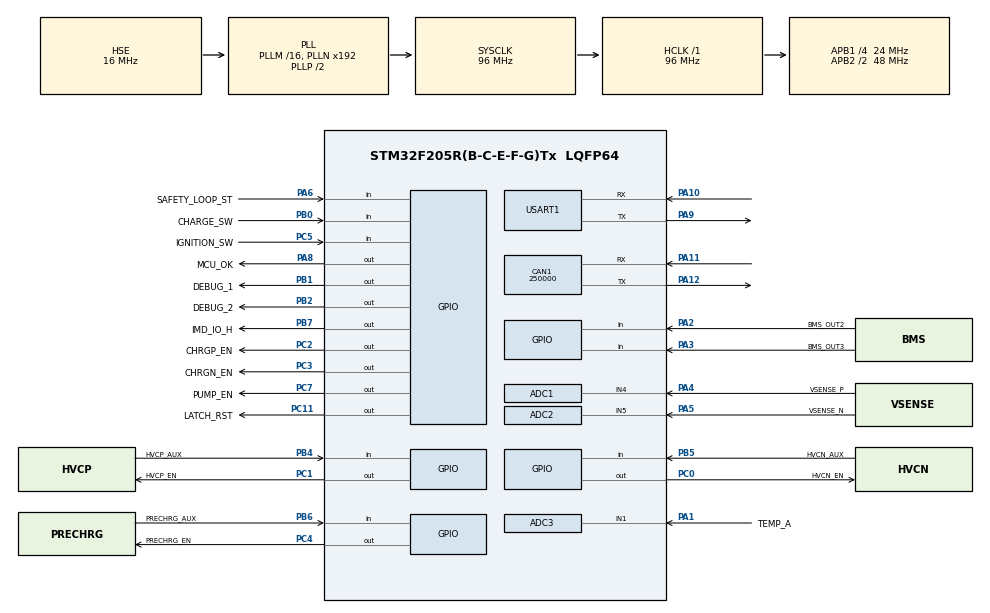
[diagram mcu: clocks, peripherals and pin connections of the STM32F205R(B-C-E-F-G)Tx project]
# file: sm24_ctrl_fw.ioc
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ADC1.Channel-1\#ChannelRegularConversion=ADC_CHANNEL_4
ADC1.NbrOfConversionFlag=1
ADC1.Rank-1\#ChannelRegularConversion=1
ADC1.SamplingTime-1\#ChannelRegularConversion=ADC_SAMPLETIME_3CYCLES
ADC1.master=1
ADC2.Channel-1\#ChannelRegularConversion=ADC_CHANNEL_5
ADC2.NbrOfConversionFlag=1
ADC2.Rank-1\#ChannelRegularConversion=1
ADC2.SamplingTime-1\#ChannelRegularConversion=ADC_SAMPLETIME_3CYCLES
ADC3.Channel-0\#ChannelRegularConversion=ADC_CHANNEL_1
ADC3.NbrOfConversionFlag=1
ADC3.Rank-0\#ChannelRegularConversion=1
ADC3.SamplingTime-0\#ChannelRegularConversion=ADC_SAMPLETIME_3CYCLES
CAN1.BS1=CAN_BS1_4TQ
CAN1.CalculateBaudRate=250000
CAN1.CalculateTimeBit=4000
CAN1.CalculateTimeQuantum=666.6666666666666
CAN1.NART=ENABLE
CAN1.SJW=CAN_SJW_2TQ
Mcu.Family=STM32F2
Mcu.Name=STM32F205R(B-C-E-F-G)Tx
Mcu.Package=LQFP64
NVIC.CAN1_RX0_IRQn=true\:0\:0\:false\:false\:true\:true\:true\:true
NVIC.PriorityGroup=NVIC_PRIORITYGROUP_4
PA1.GPIO_Label=TEMP_A
PA1.Signal=ADCx_IN1
PA10.Mode=Asynchronous
PA10.Signal=USART1_RX
PA11.GPIO_PuPd=GPIO_PULLUP
PA11.Mode=CAN_Activate
PA11.Signal=CAN1_RX
PA12.Mode=CAN_Activate
PA12.Signal=CAN1_TX
PA2.GPIO_Label=BMS_OUT2
PA2.GPIO_PuPd=GPIO_PULLDOWN
PA2.Signal=GPIO_Input
PA3.GPIO_Label=BMS_OUT3
PA3.GPIO_PuPd=GPIO_PULLDOWN
PA3.Signal=GPIO_Input
PA4.GPIO_Label=VSENSE_P
PA4.Signal=ADCx_IN4
PA5.GPIO_Label=VSENSE_N
PA5.Signal=ADCx_IN5
PA6.GPIO_Label=SAFETY_LOOP_ST
PA6.Signal=GPIO_Input
PA8.GPIO_Label=MCU_OK
PA8.Signal=GPIO_Output
PA9.Mode=Asynchronous
PA9.Signal=USART1_TX
PB0.GPIO_Label=CHARGE_SW
PB0.GPIO_PuPd=GPIO_PULLDOWN
PB0.Signal=GPIO_Input
PB1.GPIO_Label=DEBUG_1
PB1.Signal=GPIO_Output
PB2.GPIO_Label=DEBUG_2
PB2.Signal=GPIO_Output
PB4.GPIO_Label=HVCP_AUX
PB4.GPIO_PuPd=GPIO_PULLDOWN
PB4.Signal=GPIO_Input
PB5.GPIO_Label=HVCN_AUX
PB5.GPIO_PuPd=GPIO_PULLDOWN
PB5.Signal=GPIO_Input
PB6.GPIO_Label=PRECHRG_AUX
PB6.GPIO_PuPd=GPIO_PULLDOWN
PB6.Signal=GPIO_Input
PB7.GPIO_Label=IMD_IO_H
PB7.Signal=GPIO_Output
PC0.GPIO_Label=HVCN_EN
PC0.Signal=GPIO_Output
PC1.GPIO_Label=HVCP_EN
PC1.Signal=GPIO_Output
PC11.GPIO_Label=LATCH_RST
PC11.Signal=GPIO_Output
PC2.GPIO_Label=CHRGP_EN
PC2.Signal=GPIO_Output
PC3.GPIO_Label=CHRGN_EN
PC3.Signal=GPIO_Output
PC4.GPIO_Label=PRECHRG_EN
PC4.GPIO_PuPd=GPIO_NOPULL
PC4.Signal=GPIO_Output
PC5.GPIO_Label=IGNITION_SW
PC5.GPIO_PuPd=GPIO_PULLDOWN
PC5.Signal=GPIO_Input
PC7.GPIO_Label=PUMP_EN
PC7.Signal=GPIO_Output
PH0-OSC_IN.Mode=HSE-External-Oscillator
PH0-OSC_IN.Signal=RCC_OSC_IN
PH1-OSC_OUT.Mode=HSE-External-Oscillator
PH1-OSC_OUT.Signal=RCC_OSC_OUT
ProjectManager.HeapSize=0x200
ProjectManager.StackSize=0x400
ProjectManager.TargetToolchain=Makefile
RCC.48MHZClocksFreq_Value=48000000
RCC.AHBFreq_Value=96000000
RCC.APB1CLKDivider=RCC_HCLK_DIV4
RCC.APB1Freq_Value=24000000
RCC.APB1TimFreq_Value=48000000
RCC.APB2CLKDivider=RCC_HCLK_DIV2
RCC.APB2Freq_Value=48000000
RCC.APB2TimFreq_Value=96000000
RCC.CortexFreq_Value=96000000
RCC.HCLKFreq_Value=96000000
RCC.HSE_VALUE=16000000
RCC.HSI_VALUE=16000000
RCC.LSE_VALUE=32768
RCC.PLLSourceVirtual=RCC_PLLSOURCE_HSE
RCC.SYSCLKFreq_VALUE=96000000
RCC.SYSCLKSource=RCC_SYSCLKSOURCE_PLLCLK
RCC.VCOOutputFreq_Value=192000000
SH.ADCx_IN1.0=ADC3_IN1,IN1
SH.ADCx_IN4.0=ADC1_IN4,IN4
SH.ADCx_IN5.0=ADC2_IN5,IN5
USART1.VirtualMode=VM_ASYNC
board=custom

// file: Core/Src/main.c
/*
 ******************************************************************************
 * @file           : main.c
 * @brief          : Main program body
 ******************************************************************************
 * @attention
 *
 * Copyright (c) 2024 STMicroelectronics.
 * All rights reserved.
 *
 * This software is licensed under terms that can be found in the LICENSE file
 * in the root directory of this software component.
 * If no LICENSE file comes with this software, it is provided AS-IS.
 *
 ******************************************************************************
 */
/* USER CODE END Header */
#include "main.h"
#include "stm32f2xx_hal_gpio.h"

/* USER CODE BEGIN Includes */
#include <stdio.h>
/* USER CODE END Includes */

/* USER CODE BEGIN PD */
// using constants to represent state as int
#define STARTUP 0
#define OPERATION 1
#define CHARGING 2
#define ERROR 3

#define PRECHARGE 1
#define DISCHARGE 2

#define AUX_SET_DELAY 300
#define DISCHARGE_THRESHOLD 200 // 4095 * V(target voltage) / 103.6
/* USER CODE END PD */

ADC_HandleTypeDef hadc1;
ADC_HandleTypeDef hadc2;
ADC_HandleTypeDef hadc3;

CAN_HandleTypeDef hcan1;

UART_HandleTypeDef huart1;

/* USER CODE BEGIN PV */
// only until CANBUS is implemented
float battery_voltage = 52.1;
/* USER CODE END PV */

void SystemClock_Config(void);
static void MX_GPIO_Init(void);
static void MX_ADC1_Init(void);
static void MX_ADC2_Init(void);
static void MX_CAN1_Init(void);
static void MX_USART1_UART_Init(void);
static void MX_ADC3_Init(void);
/* USER CODE BEGIN PFP */
#define PUTCHAR_PROTOTYPE int __io_putchar(int ch)
/* USER CODE END PFP */

/* USER CODE BEGIN 0 */
/**
 * @brief   Error handler for error detection in operational logic. Currently
 * implemented as a while(1) loop.
 * @param   None
 * @author  Peter Woolsey
 */
void internal_error_handler(void) {
  HAL_GPIO_WritePin(LATCH_RST_GPIO_Port, LATCH_RST_Pin, GPIO_PIN_RESET);
  printf("Latch enabled...\r\n");
  HAL_GPIO_WritePin(DEBUG_1_GPIO_Port, DEBUG_1_Pin, GPIO_PIN_RESET);
  HAL_GPIO_WritePin(DEBUG_2_GPIO_Port, DEBUG_2_Pin, GPIO_PIN_RESET);
  HAL_GPIO_WritePin(MCU_OK_GPIO_Port, MCU_OK_Pin, GPIO_PIN_RESET);
  // close all relays
  HAL_GPIO_WritePin(HVCP_EN_GPIO_Port, HVCP_EN_Pin, GPIO_PIN_RESET);
  HAL_GPIO_WritePin(HVCN_EN_GPIO_Port, HVCN_EN_Pin, GPIO_PIN_RESET);
  HAL_GPIO_WritePin(PRECHRG_EN_GPIO_Port, PRECHRG_EN_Pin, GPIO_PIN_RESET);
  HAL_GPIO_WritePin(CHRGP_EN_GPIO_Port, CHRGP_EN_Pin, GPIO_PIN_RESET);
  HAL_GPIO_WritePin(CHRGN_EN_GPIO_Port, CHRGN_EN_Pin, GPIO_PIN_RESET);
  // comms over canbus of what the error was?

  printf("in error state...\r\n");
  while (1) { // freeze everything off
    HAL_Delay(500);
  }
  return;
}

/**
 * @brief   Checks the precharge voltage until voltage threshold is reached a
 * certain number of times. If max tries is reached, the error handler is
 * called. MODE is either DISCHARGE OR PRECHARGE.
 * @param   vsense_target target threshold
 * @param   num_tries number of vsense read attempts
 * @param   MODE either PRECHARGE or DISCHARGE
 * @returns 1 if target is reached. 0 if num_tries is exceeded.
 * @author  Alex Martinez
 */
int vsense(int mode, uint16_t vsense_target, int num_tries) {
  printf("in vsense...\r\n");
  int i = 0;
  uint16_t value_adc_high;
  uint16_t value_adc_low;
  uint16_t value_adc;
  while (i < num_tries) {
    HAL_GPIO_TogglePin(DEBUG_1_GPIO_Port, DEBUG_1_Pin); // LED1 will flash

    HAL_ADC_Start(&hadc1); // Needs to be called every time
    HAL_ADC_PollForConversion(&hadc1, HAL_MAX_DELAY);
    value_adc_high = HAL_ADC_GetValue(&hadc1);
    HAL_ADC_Start(&hadc2); // Needs to be called every time
    HAL_ADC_PollForConversion(&hadc2, HAL_MAX_DELAY);
    value_adc_low = HAL_ADC_GetValue(&hadc2);
    if (value_adc_high < value_adc_low) {
      value_adc = 0;
    } else {
      value_adc = value_adc_high - value_adc_low;
    }
    printf("ADC Reading: %i\r\n", value_adc);
    if (mode == PRECHARGE) { // PRECHARGE vsense logic
      if (value_adc > vsense_target) {
        HAL_GPIO_WritePin(DEBUG_2_GPIO_Port, DEBUG_2_Pin, GPIO_PIN_SET); // LED2
        return 1;
      } else {
        HAL_GPIO_WritePin(DEBUG_2_GPIO_Port, DEBUG_2_Pin,
                          GPIO_PIN_RESET); // LED2
      }
    } else if (mode == DISCHARGE) { // DISCHARGE vsense logic
      if (value_adc < vsense_target) {
        HAL_GPIO_WritePin(DEBUG_2_GPIO_Port, DEBUG_2_Pin, GPIO_PIN_SET); // LED2
        return 1;
      } else {
        HAL_GPIO_WritePin(DEBUG_2_GPIO_Port, DEBUG_2_Pin,
                          GPIO_PIN_RESET); // LED2
      }
    } else {
      internal_error_handler();
    }
    HAL_Delay(50);
    i++;
  }

  return 0; // num_tries exceeded
}

/**
 * @brief Handles the state transition from OPERATION to STARTUP
 * @param  None
 * @author Peter Woolsey
 */
void discharge_handler(void) {
  printf("Entering discharge\r\n");
  HAL_GPIO_WritePin(HVCP_EN_GPIO_Port, HVCP_EN_Pin, GPIO_PIN_RESET);
  HAL_GPIO_WritePin(HVCN_EN_GPIO_Port, HVCN_EN_Pin, GPIO_PIN_RESET);
  // actually discharge the board
  HAL_Delay(AUX_SET_DELAY);

  if (HAL_GPIO_ReadPin(HVCN_AUX_GPIO_Port, HVCN_AUX_Pin) == GPIO_PIN_SET ||
      HAL_GPIO_ReadPin(HVCP_AUX_GPIO_Port, HVCP_AUX_Pin) == GPIO_PIN_SET) {
    internal_error_handler();
  }

  HAL_GPIO_WritePin(MCU_OK_GPIO_Port, MCU_OK_Pin, GPIO_PIN_RESET);

  uint16_t vsense_target = DISCHARGE_THRESHOLD;
  int num_tries = 100; // 50ms delay * num_tries = max time in vsense

  if (!vsense(DISCHARGE, vsense_target,
              num_tries)) { // vsense has its own loop based on num_tries.
                            // Returns 0 if tries are exceeded.
    internal_error_handler();
  }
  HAL_GPIO_WritePin(MCU_OK_GPIO_Port, MCU_OK_Pin, GPIO_PIN_SET);

  // LED demo code
  HAL_GPIO_WritePin(DEBUG_1_GPIO_Port, DEBUG_1_Pin, GPIO_PIN_RESET);
  return;
}

/**
 * @brief   Handles the change of state from STARTUP to OPERATION
 * @param   None
 * @author  Peter Woolsey
 */
void toggle_precharge(void) {
  printf("Entering precharge\r\n");
  HAL_GPIO_WritePin(HVCN_EN_GPIO_Port, HVCN_EN_Pin, GPIO_PIN_SET);
  HAL_GPIO_WritePin(PRECHRG_EN_GPIO_Port, PRECHRG_EN_Pin, GPIO_PIN_SET);

  HAL_Delay(AUX_SET_DELAY);

  if (HAL_GPIO_ReadPin(HVCN_AUX_GPIO_Port, HVCN_AUX_Pin) == GPIO_PIN_RESET ||
      HAL_GPIO_ReadPin(HVCP_AUX_GPIO_Port, HVCP_AUX_Pin) == GPIO_PIN_SET ||
      HAL_GPIO_ReadPin(PRECHRG_AUX_GPIO_Port, PRECHRG_AUX_Pin) ==
          GPIO_PIN_RESET) {
    internal_error_handler();
  }

  HAL_GPIO_WritePin(DEBUG_1_GPIO_Port, DEBUG_1_Pin, GPIO_PIN_SET);
  printf("Vsense target voltage: %f\r\n", battery_voltage);
  uint16_t vsense_target =
      battery_voltage * 21.5601965602; // 4095 * 2 / 3.3 / 103.6 * 0.9
  printf("Vsense target uint12: %i\r\n", vsense_target);
  int num_tries = 100; // 500ms delay * num_tries = max time in vsense

  if (!vsense(PRECHARGE, vsense_target,
              num_tries)) { // vsense has its own loop based on num_tries.
                            // Returns 0 if tries are exceeded.
    internal_error_handler();
  }

  HAL_GPIO_WritePin(HVCP_EN_GPIO_Port, HVCP_EN_Pin, GPIO_PIN_SET);
  HAL_Delay(AUX_SET_DELAY);
  if (HAL_GPIO_ReadPin(HVCN_AUX_GPIO_Port, HVCN_AUX_Pin) == GPIO_PIN_RESET ||
      HAL_GPIO_ReadPin(HVCP_AUX_GPIO_Port, HVCP_AUX_Pin) == GPIO_PIN_RESET ||
      HAL_GPIO_ReadPin(PRECHRG_AUX_GPIO_Port, PRECHRG_AUX_Pin) ==
          GPIO_PIN_RESET) {
    internal_error_handler();
  }
  HAL_GPIO_WritePin(PRECHRG_EN_GPIO_Port, PRECHRG_EN_Pin, GPIO_PIN_RESET);

  HAL_Delay(AUX_SET_DELAY);

  if (HAL_GPIO_ReadPin(HVCN_AUX_GPIO_Port, HVCN_AUX_Pin) == GPIO_PIN_RESET ||
      HAL_GPIO_ReadPin(HVCP_AUX_GPIO_Port, HVCP_AUX_Pin) == GPIO_PIN_RESET ||
      HAL_GPIO_ReadPin(PRECHRG_AUX_GPIO_Port, PRECHRG_AUX_Pin) ==
          GPIO_PIN_SET) {
    internal_error_handler();
  }
  // LED demo code
  HAL_GPIO_WritePin(DEBUG_1_GPIO_Port, DEBUG_1_Pin, GPIO_PIN_SET);
  HAL_GPIO_WritePin(DEBUG_2_GPIO_Port, DEBUG_2_Pin, GPIO_PIN_RESET);
  return;
}

/**
 * @brief   Responsible from switching from STARTUP to CHARGING
 * @param   None
 * @author  Peter Woolsey
 */
void toggle_charging(void) {
  printf("entering charging...\r\n");
  HAL_GPIO_WritePin(CHRGP_EN_GPIO_Port, CHRGP_EN_Pin, GPIO_PIN_SET);
  HAL_GPIO_WritePin(CHRGN_EN_GPIO_Port, CHRGN_EN_Pin, GPIO_PIN_SET);
  HAL_GPIO_WritePin(DEBUG_2_GPIO_Port, DEBUG_2_Pin, GPIO_PIN_SET);
  return;
}

/**
 * @brief   Responsible from switching from CHARGING to STARTUP
 * @param   None
 * @author  Peter Woolsey
 */
void untoggle_charging(void) {
  printf("exiting charging...\r\n");
  HAL_GPIO_WritePin(CHRGP_EN_GPIO_Port, CHRGP_EN_Pin, GPIO_PIN_RESET);
  HAL_GPIO_WritePin(CHRGN_EN_GPIO_Port, CHRGN_EN_Pin, GPIO_PIN_RESET);
  HAL_GPIO_WritePin(DEBUG_2_GPIO_Port, DEBUG_2_Pin, GPIO_PIN_RESET);
  return;
}

/**
 * @brief   Gets the switch status through a digital read of the switches' GPIO
 * pins.
 * @param   None
 * @return  uint8-t - a status macro which fits into a uint8-t
 * @author  Peter Woolsey
 */
uint8_t get_switch_status(void) {
  if (HAL_GPIO_ReadPin(IGNITION_SW_GPIO_Port, IGNITION_SW_Pin) ==
      GPIO_PIN_SET) {
    if (HAL_GPIO_ReadPin(CHARGE_SW_GPIO_Port, CHARGE_SW_Pin) == GPIO_PIN_SET) {
      return ERROR;
    } else {
      return OPERATION;
    }
  } else {
    if (HAL_GPIO_ReadPin(CHARGE_SW_GPIO_Port, CHARGE_SW_Pin) == GPIO_PIN_SET) {
      return CHARGING;
    } else {
      return STARTUP;
    }
  }
  return ERROR;
}

/**
 * @brief   Checks to ensure that the aux contactors are in the expected
 * position for the current state.
 * @param   current_status
 * @author  Peter Woolsey
 */
void aux_check(uint8_t current_status) {
  printf("checking aux\r\n");
  if (HAL_GPIO_ReadPin(PRECHRG_AUX_GPIO_Port, PRECHRG_AUX_Pin) ==
      GPIO_PIN_SET) {
    internal_error_handler();
  }
  if (current_status == OPERATION) {
    if (HAL_GPIO_ReadPin(HVCP_AUX_GPIO_Port, HVCP_AUX_Pin) == GPIO_PIN_RESET ||
        HAL_GPIO_ReadPin(HVCN_AUX_GPIO_Port, HVCN_AUX_Pin) == GPIO_PIN_RESET) {
      internal_error_handler();
    }
  } else {
    if (HAL_GPIO_ReadPin(HVCP_AUX_GPIO_Port, HVCP_AUX_Pin) == GPIO_PIN_SET ||
        HAL_GPIO_ReadPin(HVCN_AUX_GPIO_Port, HVCN_AUX_Pin) == GPIO_PIN_SET) {
      internal_error_handler();
    }
  }
  HAL_Delay(100);
  return;
  // placeholder
}

/* USER CODE END 0 */

int main(void) {

  /* MCU Configuration--------------------------------------------------------*/

  /* Reset of all peripherals, Initializes the Flash interface and the Systick.
   */
  HAL_Init();

  /* Configure the system clock */
  SystemClock_Config();

  /* Initialize all configured peripherals */
  MX_GPIO_Init();
  MX_ADC1_Init();
  MX_ADC2_Init();
  MX_CAN1_Init();
  MX_USART1_UART_Init();
  MX_ADC3_Init();
  /* USER CODE BEGIN 2 */
  // Setup
  uint8_t status = STARTUP;
  uint8_t new_status;
  printf("Starting...\r\n");
  printf("Resetting latch...\r\n");
  HAL_GPIO_WritePin(LATCH_RST_GPIO_Port, LATCH_RST_Pin, GPIO_PIN_SET);
  HAL_Delay(5000);
  // HAL_GPIO_WritePin(LATCH_RST_GPIO_Port, LATCH_RST_Pin, GPIO_PIN_RESET);
  // printf("Latch enabled...\r\n");
  HAL_Delay(1000);
  HAL_GPIO_WritePin(MCU_OK_GPIO_Port, MCU_OK_Pin, GPIO_PIN_SET);
  /* USER CODE END 2 */

  /* Infinite loop */
  /* USER CODE BEGIN WHILE */
  while (1) {
    // printf("in while loop...\r\n");
    new_status = get_switch_status();
    if (new_status == ERROR) {
      internal_error_handler();
    }

    if (new_status != status) { // handles change of switch state
      printf("Change in switches detected...\r\n");
      // printf("Resetting latch...\r\n");
      // HAL_GPIO_WritePin(LATCH_RST_GPIO_Port, LATCH_RST_Pin, GPIO_PIN_SET);
      if (status == STARTUP) { // where can you go from startup:
        if (new_status == OPERATION) {
          toggle_precharge();
          status = OPERATION;
        } else if (new_status == CHARGING) {
          toggle_charging();
          status = CHARGING;
        } else {
          internal_error_handler(); // should never reach here
        }
      } else if (status == OPERATION) { // where can you go from operation:
        if (new_status == STARTUP) {
          discharge_handler();
          status = STARTUP;
        } else {
          internal_error_handler(); // should never reach here
        }
      } else if (status == CHARGING) { // where can you go from operation:
        if (new_status == STARTUP) {
          untoggle_charging();
          status = STARTUP;
        } else {
          internal_error_handler(); // should never reach here
        }
      } else {
        status = ERROR;
        internal_error_handler();
      }
      // HAL_GPIO_WritePin(LATCH_RST_GPIO_Port, LATCH_RST_Pin, GPIO_PIN_RESET);
      // printf("Latch enabled...\r\n");
    }

    aux_check(status); // to be implemented
    /* USER CODE END WHILE */

  }
}

void SystemClock_Config(void) {
  RCC_OscInitTypeDef RCC_OscInitStruct = {0};
  RCC_ClkInitTypeDef RCC_ClkInitStruct = {0};

  /** Initializes the RCC Oscillators according to the specified parameters
   * in the RCC_OscInitTypeDef structure.
   */
  RCC_OscInitStruct.OscillatorType = RCC_OSCILLATORTYPE_HSE;
  RCC_OscInitStruct.HSEState = RCC_HSE_ON;
  RCC_OscInitStruct.PLL.PLLState = RCC_PLL_ON;
  RCC_OscInitStruct.PLL.PLLSource = RCC_PLLSOURCE_HSE;
  RCC_OscInitStruct.PLL.PLLM = 16;
  RCC_OscInitStruct.PLL.PLLN = 192;
  RCC_OscInitStruct.PLL.PLLP = RCC_PLLP_DIV2;
  RCC_OscInitStruct.PLL.PLLQ = 4;
  if (HAL_RCC_OscConfig(&RCC_OscInitStruct) != HAL_OK) {
    Error_Handler();
  }

  /** Initializes the CPU, AHB and APB buses clocks
   */
  RCC_ClkInitStruct.ClockType = RCC_CLOCKTYPE_HCLK | RCC_CLOCKTYPE_SYSCLK |
                                RCC_CLOCKTYPE_PCLK1 | RCC_CLOCKTYPE_PCLK2;
  RCC_ClkInitStruct.SYSCLKSource = RCC_SYSCLKSOURCE_PLLCLK;
  RCC_ClkInitStruct.AHBCLKDivider = RCC_SYSCLK_DIV1;
  RCC_ClkInitStruct.APB1CLKDivider = RCC_HCLK_DIV4;
  RCC_ClkInitStruct.APB2CLKDivider = RCC_HCLK_DIV2;

  if (HAL_RCC_ClockConfig(&RCC_ClkInitStruct, FLASH_LATENCY_3) != HAL_OK) {
    Error_Handler();
  }
}

static void MX_ADC1_Init(void) {

  ADC_ChannelConfTypeDef sConfig = {0};

  /** Configure the global features of the ADC (Clock, Resolution, Data
   * Alignment and number of conversion)
   */
  hadc1.Instance = ADC1;
  hadc1.Init.ClockPrescaler = ADC_CLOCK_SYNC_PCLK_DIV4;
  hadc1.Init.Resolution = ADC_RESOLUTION_12B;
  hadc1.Init.ScanConvMode = DISABLE;
  hadc1.Init.ContinuousConvMode = DISABLE;
  hadc1.Init.DiscontinuousConvMode = DISABLE;
  hadc1.Init.ExternalTrigConvEdge = ADC_EXTERNALTRIGCONVEDGE_NONE;
  hadc1.Init.ExternalTrigConv = ADC_SOFTWARE_START;
  hadc1.Init.DataAlign = ADC_DATAALIGN_RIGHT;
  hadc1.Init.NbrOfConversion = 1;
  hadc1.Init.DMAContinuousRequests = DISABLE;
  hadc1.Init.EOCSelection = ADC_EOC_SINGLE_CONV;
  if (HAL_ADC_Init(&hadc1) != HAL_OK) {
    Error_Handler();
  }

  /** Configure for the selected ADC regular channel its corresponding rank in
   * the sequencer and its sample time.
   */
  sConfig.Channel = ADC_CHANNEL_4;
  sConfig.Rank = 1;
  sConfig.SamplingTime = ADC_SAMPLETIME_3CYCLES;
  if (HAL_ADC_ConfigChannel(&hadc1, &sConfig) != HAL_OK) {
    Error_Handler();
  }
}

static void MX_ADC2_Init(void) {

  ADC_ChannelConfTypeDef sConfig = {0};

  /** Configure the global features of the ADC (Clock, Resolution, Data
   * Alignment and number of conversion)
   */
  hadc2.Instance = ADC2;
  hadc2.Init.ClockPrescaler = ADC_CLOCK_SYNC_PCLK_DIV4;
  hadc2.Init.Resolution = ADC_RESOLUTION_12B;
  hadc2.Init.ScanConvMode = DISABLE;
  hadc2.Init.ContinuousConvMode = DISABLE;
  hadc2.Init.DiscontinuousConvMode = DISABLE;
  hadc2.Init.ExternalTrigConvEdge = ADC_EXTERNALTRIGCONVEDGE_NONE;
  hadc2.Init.ExternalTrigConv = ADC_SOFTWARE_START;
  hadc2.Init.DataAlign = ADC_DATAALIGN_RIGHT;
  hadc2.Init.NbrOfConversion = 1;
  hadc2.Init.DMAContinuousRequests = DISABLE;
  hadc2.Init.EOCSelection = ADC_EOC_SINGLE_CONV;
  if (HAL_ADC_Init(&hadc2) != HAL_OK) {
    Error_Handler();
  }

  /** Configure for the selected ADC regular channel its corresponding rank in
   * the sequencer and its sample time.
   */
  sConfig.Channel = ADC_CHANNEL_5;
  sConfig.Rank = 1;
  sConfig.SamplingTime = ADC_SAMPLETIME_3CYCLES;
  if (HAL_ADC_ConfigChannel(&hadc2, &sConfig) != HAL_OK) {
    Error_Handler();
  }
}

static void MX_ADC3_Init(void) {

  ADC_ChannelConfTypeDef sConfig = {0};

  /** Configure the global features of the ADC (Clock, Resolution, Data
   * Alignment and number of conversion)
   */
  hadc3.Instance = ADC3;
  hadc3.Init.ClockPrescaler = ADC_CLOCK_SYNC_PCLK_DIV4;
  hadc3.Init.Resolution = ADC_RESOLUTION_12B;
  hadc3.Init.ScanConvMode = DISABLE;
  hadc3.Init.ContinuousConvMode = DISABLE;
  hadc3.Init.DiscontinuousConvMode = DISABLE;
  hadc3.Init.ExternalTrigConvEdge = ADC_EXTERNALTRIGCONVEDGE_NONE;
  hadc3.Init.ExternalTrigConv = ADC_SOFTWARE_START;
  hadc3.Init.DataAlign = ADC_DATAALIGN_RIGHT;
  hadc3.Init.NbrOfConversion = 1;
  hadc3.Init.DMAContinuousRequests = DISABLE;
  hadc3.Init.EOCSelection = ADC_EOC_SINGLE_CONV;
  if (HAL_ADC_Init(&hadc3) != HAL_OK) {
    Error_Handler();
  }

  /** Configure for the selected ADC regular channel its corresponding rank in
   * the sequencer and its sample time.
   */
  sConfig.Channel = ADC_CHANNEL_1;
  sConfig.Rank = 1;
  sConfig.SamplingTime = ADC_SAMPLETIME_3CYCLES;
  if (HAL_ADC_ConfigChannel(&hadc3, &sConfig) != HAL_OK) {
    Error_Handler();
  }
}

static void MX_CAN1_Init(void) {

  hcan1.Instance = CAN1;
  hcan1.Init.Prescaler = 16;
  hcan1.Init.Mode = CAN_MODE_NORMAL;
  hcan1.Init.SyncJumpWidth = CAN_SJW_1TQ;
  hcan1.Init.TimeSeg1 = CAN_BS1_1TQ;
  hcan1.Init.TimeSeg2 = CAN_BS2_1TQ;
  hcan1.Init.TimeTriggeredMode = DISABLE;
  hcan1.Init.AutoBusOff = DISABLE;
  hcan1.Init.AutoWakeUp = DISABLE;
  hcan1.Init.AutoRetransmission = DISABLE;
  hcan1.Init.ReceiveFifoLocked = DISABLE;
  hcan1.Init.TransmitFifoPriority = DISABLE;
  if (HAL_CAN_Init(&hcan1) != HAL_OK) {
    Error_Handler();
  }
}

static void MX_USART1_UART_Init(void) {

  huart1.Instance = USART1;
  huart1.Init.BaudRate = 115200;
  huart1.Init.WordLength = UART_WORDLENGTH_8B;
  huart1.Init.StopBits = UART_STOPBITS_1;
  huart1.Init.Parity = UART_PARITY_NONE;
  huart1.Init.Mode = UART_MODE_TX_RX;
  huart1.Init.HwFlowCtl = UART_HWCONTROL_NONE;
  huart1.Init.OverSampling = UART_OVERSAMPLING_16;
  if (HAL_UART_Init(&huart1) != HAL_OK) {
    Error_Handler();
  }
}

static void MX_GPIO_Init(void) {
  GPIO_InitTypeDef GPIO_InitStruct = {0};

  /* GPIO Ports Clock Enable */
  __HAL_RCC_GPIOH_CLK_ENABLE();
  __HAL_RCC_GPIOC_CLK_ENABLE();
  __HAL_RCC_GPIOA_CLK_ENABLE();
  __HAL_RCC_GPIOB_CLK_ENABLE();

  /*Configure GPIO pin Output Level */
  HAL_GPIO_WritePin(GPIOC,
                    HVCN_EN_Pin | HVCP_EN_Pin | CHRGP_EN_Pin | CHRGN_EN_Pin |
                        PRECHRG_EN_Pin | PUMP_EN_Pin | LATCH_RST_Pin,
                    GPIO_PIN_RESET);

  /*Configure GPIO pin Output Level */
  HAL_GPIO_WritePin(GPIOB, DEBUG_1_Pin | DEBUG_2_Pin | IMD_IO_H_Pin,
                    GPIO_PIN_RESET);

  /*Configure GPIO pin Output Level */
  HAL_GPIO_WritePin(MCU_OK_GPIO_Port, MCU_OK_Pin, GPIO_PIN_RESET);

  /*Configure GPIO pins : HVCN_EN_Pin HVCP_EN_Pin CHRGP_EN_Pin CHRGN_EN_Pin
                           PRECHRG_EN_Pin PUMP_EN_Pin LATCH_RST_Pin */
  GPIO_InitStruct.Pin = HVCN_EN_Pin | HVCP_EN_Pin | CHRGP_EN_Pin |
                        CHRGN_EN_Pin | PRECHRG_EN_Pin | PUMP_EN_Pin |
                        LATCH_RST_Pin;
  GPIO_InitStruct.Mode = GPIO_MODE_OUTPUT_PP;
  GPIO_InitStruct.Pull = GPIO_NOPULL;
  GPIO_InitStruct.Speed = GPIO_SPEED_FREQ_LOW;
  HAL_GPIO_Init(GPIOC, &GPIO_InitStruct);

  /*Configure GPIO pins : BMS_OUT2_Pin BMS_OUT3_Pin */
  GPIO_InitStruct.Pin = BMS_OUT2_Pin | BMS_OUT3_Pin;
  GPIO_InitStruct.Mode = GPIO_MODE_INPUT;
  GPIO_InitStruct.Pull = GPIO_PULLDOWN;
  HAL_GPIO_Init(GPIOA, &GPIO_InitStruct);

  /*Configure GPIO pin : SAFETY_LOOP_ST_Pin */
  GPIO_InitStruct.Pin = SAFETY_LOOP_ST_Pin;
  GPIO_InitStruct.Mode = GPIO_MODE_INPUT;
  GPIO_InitStruct.Pull = GPIO_NOPULL;
  HAL_GPIO_Init(SAFETY_LOOP_ST_GPIO_Port, &GPIO_InitStruct);

  /*Configure GPIO pin : IGNITION_SW_Pin */
  GPIO_InitStruct.Pin = IGNITION_SW_Pin;
  GPIO_InitStruct.Mode = GPIO_MODE_INPUT;
  GPIO_InitStruct.Pull = GPIO_PULLDOWN;
  HAL_GPIO_Init(IGNITION_SW_GPIO_Port, &GPIO_InitStruct);

  /*Configure GPIO pins : CHARGE_SW_Pin HVCP_AUX_Pin HVCN_AUX_Pin
   * PRECHRG_AUX_Pin */
  GPIO_InitStruct.Pin =
      CHARGE_SW_Pin | HVCP_AUX_Pin | HVCN_AUX_Pin | PRECHRG_AUX_Pin;
  GPIO_InitStruct.Mode = GPIO_MODE_INPUT;
  GPIO_InitStruct.Pull = GPIO_PULLDOWN;
  HAL_GPIO_Init(GPIOB, &GPIO_InitStruct);

  /*Configure GPIO pins : DEBUG_1_Pin DEBUG_2_Pin IMD_IO_H_Pin */
  GPIO_InitStruct.Pin = DEBUG_1_Pin | DEBUG_2_Pin | IMD_IO_H_Pin;
  GPIO_InitStruct.Mode = GPIO_MODE_OUTPUT_PP;
  GPIO_InitStruct.Pull = GPIO_NOPULL;
  GPIO_InitStruct.Speed = GPIO_SPEED_FREQ_LOW;
  HAL_GPIO_Init(GPIOB, &GPIO_InitStruct);

  /*Configure GPIO pin : MCU_OK_Pin */
  GPIO_InitStruct.Pin = MCU_OK_Pin;
  GPIO_InitStruct.Mode = GPIO_MODE_OUTPUT_PP;
  GPIO_InitStruct.Pull = GPIO_NOPULL;
  GPIO_InitStruct.Speed = GPIO_SPEED_FREQ_LOW;
  HAL_GPIO_Init(MCU_OK_GPIO_Port, &GPIO_InitStruct);

}

/* USER CODE BEGIN 4 */
/**
 * @brief  Retargets the C library printf function to the USART.
 * @retval None
 */
PUTCHAR_PROTOTYPE {
  HAL_UART_Transmit(&huart1, (uint8_t *)&ch, 1, 0xFFFF);
  return ch;
}
/* USER CODE END 4 */

void Error_Handler(void) {
  __disable_irq();
  while (1) {
  }
}

#ifdef USE_FULL_ASSERT
/**
 * @brief  Reports the name of the source file and the source line number
 *         where the assert_param error has occurred.
 * @param  file: pointer to the source file name
 * @param  line: assert_param error line source number
 * @retval None
 */
void assert_failed(uint8_t *file, uint32_t line) {
  /* USER CODE BEGIN 6 */
  /* User can add his own implementation to report the file name and line
     number, ex: printf("Wrong parameters value: file %s on line %d\r\n", file,
     line) */
  /* USER CODE END 6 */
}
#endif /* USE_FULL_ASSERT */
